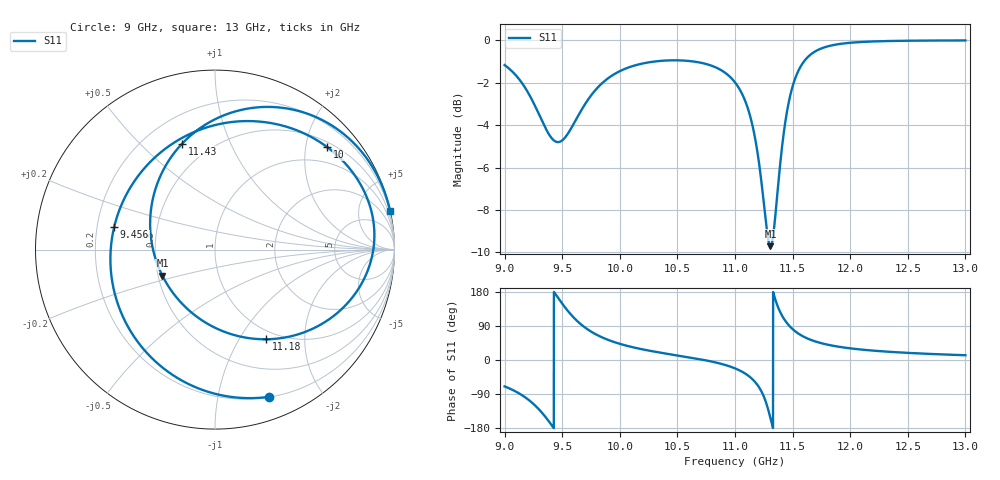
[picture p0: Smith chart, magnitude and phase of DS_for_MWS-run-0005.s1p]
! TOUCHSTONE file generated by CST DESIGN STUDIO
! Date and time: Tue Feb  4 17:20:10 2025
! Project name: C:\Work\MatlabApps\UnitCellOptimizationMatlab\CST\unitcell.cst
! Tree item: Tasks\Sweep1\SPara1\S-Parameters
! Header version: 2024
! Port assignment regex: !\s*Touchstone port\s*([0-9]+)\s*=\s*(CST MWS port|CST DES external port|CST DES block port)\s*(.+)\s* \(\"(.*)\"\)(\s*mode\s*([0-9]+))?.*
! Touchstone port assignment:
! Touchstone port 1 = CST DES external port 1 ("")
# GHz S MA R 50
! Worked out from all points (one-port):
!   4001 points, 9 GHz to 13 GHz, reference 50 ohm
!   lowest |S11| = -9.7 dB at 11.31 GHz (marker M1), VSWR 1.97, Z = 26.4 - j8.59 ohm
!   |S11| at or under -10 dB: nowhere
!   S11 on the Smith chart (normalised r, x): 9 GHz: 0.20, -1.42; 9.456 GHz: 0.27, +0.10; 10 GHz: 0.61, +2.45; 11.18 GHz: 0.88, -1.31; 11.43 GHz: 0.35, +0.68; 13 GHz: 0.03, +9.07
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9  0.8743 -69.7
9.133  0.8053 -89.4
9.237  0.7246 -112.4
9.359  0.6181 -151.9
9.456  0.5758 167.5
9.5  0.5809 148.8
9.594  0.6316 113.8
9.693  0.7036 86.8
9.84  0.7895 60.6
10  0.8459 42.7
10.003  0.8467 42.4
10.221  0.8844 26.6
10.5  0.8971 12.0
10.802  0.8702 -4.4
11  0.7959 -22.1
11.098  0.7084 -37.7
11.181  0.5744 -60.4
11.247  0.4208 -94.1
11.308  0.3272 -153.6
11.364  0.4238 147.0
11.428  0.6183 107.2
11.5  0.7787 81.5
11.591  0.8859 62.3
11.694  0.9409 49.3
11.825  0.9709 39.1
12  0.9868 30.8
12.5  0.9978 18.8
13  0.9993 12.6
